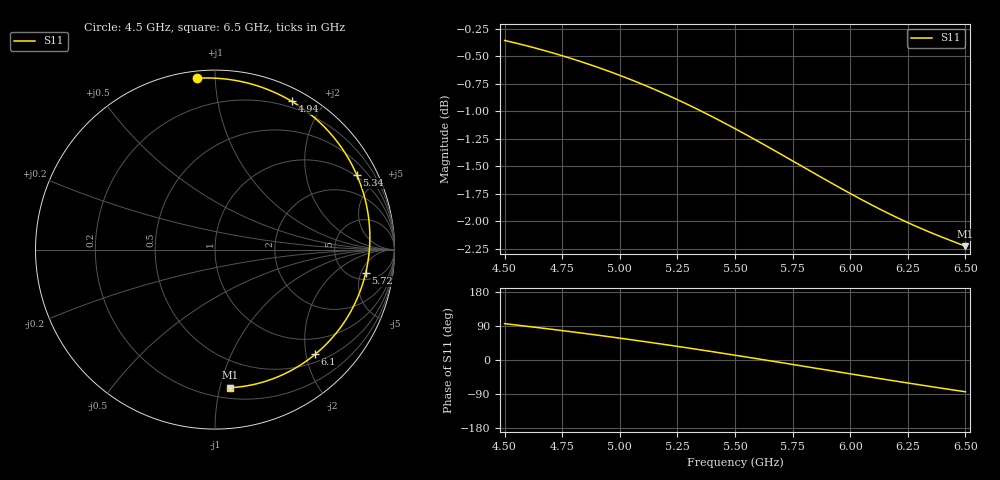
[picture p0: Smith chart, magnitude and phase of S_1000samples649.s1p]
! TOUCHSTONE file generated by CST MICROWAVE STUDIO
! Date and time: Fri Oct 28 21:56:23 2022
! Project name: L.cst
! Parameters = {Di=1.27; Epsilon_r=1.56; InnerDiameter=1.27; Length=2; Lf=10; Lg=60; OuterConductorThickness=0.2921; OuterDiameter=3.6; Wf=3; Wp=41.2; de=1.5; df=6.8; g=0.8; gx=2.34184; gy=4.46022; h=2.34; hf=1.524; px=9.31161; py=12.5169; w=9.7; wx=6.96976; wy=8.05665}
! Header version: 2018
! Port assignment regex: !\s*Touchstone port\s*([0-9]+)\s*=\s*(CST MWS port|CST DS port)\s*([0-9]+|Zmin|Zmax)\s*\(\"(.*)\"\)(\s*mode\s*([0-9]+))?.*
! Touchstone port assignment:
! Touchstone port 1 = CST MWS port 1 ("")
# GHz S DB R 50
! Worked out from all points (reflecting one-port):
!   101 points, 4.5 GHz to 6.5 GHz, reference 50 ohm
!   lowest |S11| = -2.2 dB at 6.5 GHz (marker M1), VSWR 7.85, Z = 14 - j53.7 ohm
!   phase of S11 starts at 96 deg and turns -180 deg over the sweep
!   S11 on the Smith chart (normalised r, x): 4.5 GHz: 0.04, +0.90; 4.94 GHz: 0.13, +1.64; 5.34 GHz: 0.94, +3.84; 5.72 GHz: 6.54, -6.10; 6.1 GHz: 0.65, -2.18; 6.5 GHz: 0.28, -1.07
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4.5  -0.36 95.8
4.58  -0.40 90.2
4.64  -0.43 85.8
4.76  -0.50 76.8
4.86  -0.57 69.0
4.94  -0.63 62.6
5  -0.67 57.6
5.12  -0.77 47.5
5.2  -0.85 40.4
5.26  -0.90 35.0
5.34  -0.99 27.7
5.42  -1.07 20.3
5.5  -1.16 12.7
5.6  -1.27 3.0
5.66  -1.34 -2.9
5.72  -1.42 -8.8
5.76  -1.46 -12.7
5.82  -1.53 -18.7
5.88  -1.61 -24.6
5.94  -1.68 -30.5
6  -1.75 -36.5
6.1  -1.86 -46.2
6.18  -1.94 -54.0
6.26  -2.02 -61.6
6.32  -2.08 -67.3
6.38  -2.13 -72.9
6.44  -2.18 -78.4
6.5  -2.23 -83.9
